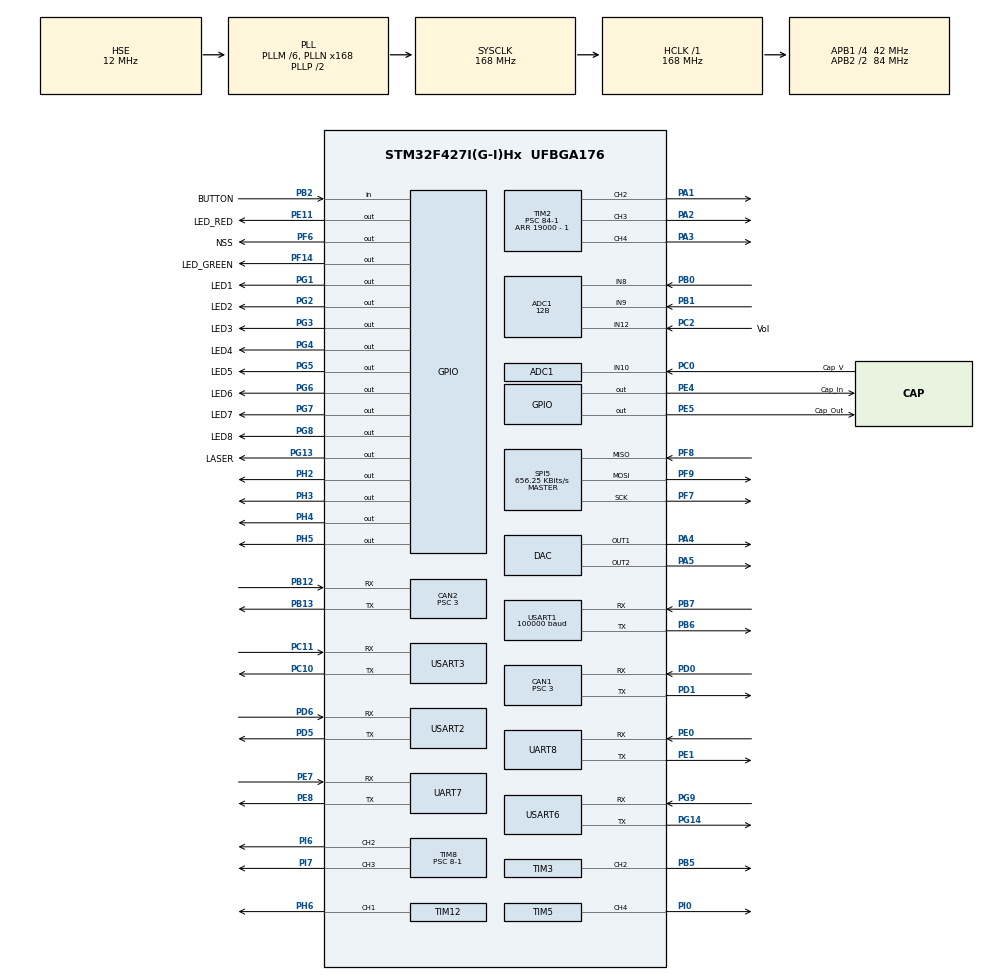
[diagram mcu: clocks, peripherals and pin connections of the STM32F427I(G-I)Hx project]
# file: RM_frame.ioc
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ADC1.Channel-0\#ChannelRegularConversion=ADC_CHANNEL_VREFINT
ADC1.Channel-1\#ChannelRegularConversion=ADC_CHANNEL_8
ADC1.Channel-2\#ChannelRegularConversion=ADC_CHANNEL_9
ADC1.Channel-3\#ChannelRegularConversion=ADC_CHANNEL_10
ADC1.ClockPrescaler=ADC_CLOCK_SYNC_PCLK_DIV4
ADC1.ContinuousConvMode=ENABLE
ADC1.DMAContinuousRequests=ENABLE
ADC1.DataAlign=ADC_DATAALIGN_RIGHT
ADC1.DiscontinuousConvMode=DISABLE
ADC1.EOCSelection=ADC_EOC_SINGLE_CONV
ADC1.EnableAnalogWatchDog=false
ADC1.ExternalTrigConv=ADC_SOFTWARE_START
ADC1.ExternalTrigConvEdge=ADC_EXTERNALTRIGCONVEDGE_NONE
ADC1.InjNumberOfConversion=0
ADC1.NbrOfConversion=4
ADC1.NbrOfConversionFlag=1
ADC1.Rank-0\#ChannelRegularConversion=1
ADC1.Rank-1\#ChannelRegularConversion=2
ADC1.Rank-2\#ChannelRegularConversion=3
ADC1.Rank-3\#ChannelRegularConversion=4
ADC1.Resolution=ADC_RESOLUTION_12B
ADC1.SamplingTime-0\#ChannelRegularConversion=ADC_SAMPLETIME_56CYCLES
ADC1.SamplingTime-1\#ChannelRegularConversion=ADC_SAMPLETIME_56CYCLES
ADC1.SamplingTime-2\#ChannelRegularConversion=ADC_SAMPLETIME_56CYCLES
ADC1.SamplingTime-3\#ChannelRegularConversion=ADC_SAMPLETIME_56CYCLES
ADC1.ScanConvMode=ENABLE
ADC1.master=1
CAN1.BS1=CAN_BS1_9TQ
CAN1.BS2=CAN_BS2_4TQ
CAN1.CalculateTimeBit=1000
CAN1.CalculateTimeQuantum=71.42857142857143
CAN1.Prescaler=3
CAN2.BS1=CAN_BS1_9TQ
CAN2.BS2=CAN_BS2_4TQ
CAN2.CalculateTimeBit=1000
CAN2.CalculateTimeQuantum=71.42857142857143
CAN2.Prescaler=3
Dma.ADC1.8.Direction=DMA_PERIPH_TO_MEMORY
Dma.ADC1.8.FIFOMode=DMA_FIFOMODE_DISABLE
Dma.ADC1.8.Instance=DMA2_Stream0
Dma.ADC1.8.MemDataAlignment=DMA_MDATAALIGN_HALFWORD
Dma.ADC1.8.MemInc=DMA_MINC_ENABLE
Dma.ADC1.8.Mode=DMA_CIRCULAR
Dma.ADC1.8.PeriphDataAlignment=DMA_PDATAALIGN_HALFWORD
Dma.ADC1.8.PeriphInc=DMA_PINC_DISABLE
Dma.ADC1.8.Priority=DMA_PRIORITY_LOW
Dma.Request0=USART6_RX
Dma.Request1=USART6_TX
Dma.Request2=USART3_RX
Dma.Request3=USART2_RX
Dma.Request4=USART1_RX
Dma.Request5=UART8_RX
Dma.Request6=UART8_TX
Dma.Request7=UART7_RX
Dma.Request8=ADC1
Dma.UART7_RX.7.Direction=DMA_PERIPH_TO_MEMORY
Dma.UART7_RX.7.FIFOMode=DMA_FIFOMODE_DISABLE
Dma.UART7_RX.7.Instance=DMA1_Stream3
Dma.UART7_RX.7.MemDataAlignment=DMA_MDATAALIGN_BYTE
Dma.UART7_RX.7.MemInc=DMA_MINC_ENABLE
Dma.UART7_RX.7.Mode=DMA_NORMAL
Dma.UART7_RX.7.PeriphDataAlignment=DMA_PDATAALIGN_BYTE
Dma.UART7_RX.7.PeriphInc=DMA_PINC_DISABLE
Dma.UART7_RX.7.Priority=DMA_PRIORITY_LOW
Dma.UART8_RX.5.Direction=DMA_PERIPH_TO_MEMORY
Dma.UART8_RX.5.FIFOMode=DMA_FIFOMODE_DISABLE
Dma.UART8_RX.5.Instance=DMA1_Stream6
Dma.UART8_RX.5.MemDataAlignment=DMA_MDATAALIGN_BYTE
Dma.UART8_RX.5.MemInc=DMA_MINC_ENABLE
Dma.UART8_RX.5.Mode=DMA_NORMAL
Dma.UART8_RX.5.PeriphDataAlignment=DMA_PDATAALIGN_BYTE
Dma.UART8_RX.5.PeriphInc=DMA_PINC_DISABLE
Dma.UART8_RX.5.Priority=DMA_PRIORITY_LOW
Dma.UART8_TX.6.Direction=DMA_MEMORY_TO_PERIPH
Dma.UART8_TX.6.FIFOMode=DMA_FIFOMODE_DISABLE
Dma.UART8_TX.6.Instance=DMA1_Stream0
Dma.UART8_TX.6.MemDataAlignment=DMA_MDATAALIGN_BYTE
Dma.UART8_TX.6.MemInc=DMA_MINC_ENABLE
Dma.UART8_TX.6.Mode=DMA_NORMAL
Dma.UART8_TX.6.PeriphDataAlignment=DMA_PDATAALIGN_BYTE
Dma.UART8_TX.6.PeriphInc=DMA_PINC_DISABLE
Dma.UART8_TX.6.Priority=DMA_PRIORITY_LOW
Dma.USART1_RX.4.Direction=DMA_PERIPH_TO_MEMORY
Dma.USART1_RX.4.FIFOMode=DMA_FIFOMODE_DISABLE
Dma.USART1_RX.4.Instance=DMA2_Stream2
Dma.USART1_RX.4.MemDataAlignment=DMA_MDATAALIGN_BYTE
Dma.USART1_RX.4.MemInc=DMA_MINC_ENABLE
Dma.USART1_RX.4.Mode=DMA_NORMAL
Dma.USART1_RX.4.PeriphDataAlignment=DMA_PDATAALIGN_BYTE
Dma.USART1_RX.4.PeriphInc=DMA_PINC_DISABLE
Dma.USART1_RX.4.Priority=DMA_PRIORITY_LOW
Dma.USART2_RX.3.Direction=DMA_PERIPH_TO_MEMORY
Dma.USART2_RX.3.FIFOMode=DMA_FIFOMODE_DISABLE
Dma.USART2_RX.3.Instance=DMA1_Stream5
Dma.USART2_RX.3.MemDataAlignment=DMA_MDATAALIGN_BYTE
Dma.USART2_RX.3.MemInc=DMA_MINC_ENABLE
Dma.USART2_RX.3.Mode=DMA_NORMAL
Dma.USART2_RX.3.PeriphDataAlignment=DMA_PDATAALIGN_BYTE
Dma.USART2_RX.3.PeriphInc=DMA_PINC_DISABLE
Dma.USART2_RX.3.Priority=DMA_PRIORITY_LOW
Dma.USART3_RX.2.Direction=DMA_PERIPH_TO_MEMORY
Dma.USART3_RX.2.FIFOMode=DMA_FIFOMODE_DISABLE
Dma.USART3_RX.2.Instance=DMA1_Stream1
Dma.USART3_RX.2.MemDataAlignment=DMA_MDATAALIGN_BYTE
Dma.USART3_RX.2.MemInc=DMA_MINC_ENABLE
Dma.USART3_RX.2.Mode=DMA_NORMAL
Dma.USART3_RX.2.PeriphDataAlignment=DMA_PDATAALIGN_BYTE
Dma.USART3_RX.2.PeriphInc=DMA_PINC_DISABLE
Dma.USART3_RX.2.Priority=DMA_PRIORITY_LOW
Dma.USART6_RX.0.Direction=DMA_PERIPH_TO_MEMORY
Dma.USART6_RX.0.FIFOMode=DMA_FIFOMODE_DISABLE
Dma.USART6_RX.0.Instance=DMA2_Stream1
Dma.USART6_RX.0.MemDataAlignment=DMA_MDATAALIGN_BYTE
Dma.USART6_RX.0.MemInc=DMA_MINC_ENABLE
Dma.USART6_RX.0.Mode=DMA_NORMAL
Dma.USART6_RX.0.PeriphDataAlignment=DMA_PDATAALIGN_BYTE
Dma.USART6_RX.0.PeriphInc=DMA_PINC_DISABLE
Dma.USART6_RX.0.Priority=DMA_PRIORITY_LOW
Dma.USART6_TX.1.Direction=DMA_MEMORY_TO_PERIPH
Dma.USART6_TX.1.FIFOMode=DMA_FIFOMODE_DISABLE
Dma.USART6_TX.1.Instance=DMA2_Stream6
Dma.USART6_TX.1.MemDataAlignment=DMA_MDATAALIGN_BYTE
Dma.USART6_TX.1.MemInc=DMA_MINC_ENABLE
Dma.USART6_TX.1.Mode=DMA_NORMAL
Dma.USART6_TX.1.PeriphDataAlignment=DMA_PDATAALIGN_BYTE
Dma.USART6_TX.1.PeriphInc=DMA_PINC_DISABLE
Dma.USART6_TX.1.Priority=DMA_PRIORITY_LOW
IWDG.Prescaler=IWDG_PRESCALER_32
IWDG.Reload=300
Mcu.Family=STM32F4
Mcu.Name=STM32F427I(G-I)Hx
Mcu.Package=UFBGA176
NVIC.CAN1_RX0_IRQn=true\:0\:0\:true\:false\:true\:true
NVIC.CAN1_TX_IRQn=true\:0\:0\:true\:false\:true\:true
NVIC.CAN2_RX0_IRQn=true\:1\:0\:true\:false\:true\:true
NVIC.CAN2_TX_IRQn=true\:2\:0\:true\:false\:true\:true
NVIC.DMA1_Stream0_IRQn=true\:0\:0\:false\:false\:true\:true
NVIC.DMA1_Stream1_IRQn=true\:0\:0\:false\:false\:true\:true
NVIC.DMA1_Stream3_IRQn=true\:0\:0\:false\:false\:true\:true
NVIC.DMA1_Stream5_IRQn=true\:0\:0\:false\:false\:true\:true
NVIC.DMA1_Stream6_IRQn=true\:0\:0\:false\:false\:true\:true
NVIC.DMA2_Stream0_IRQn=true\:0\:0\:false\:false\:true\:false
NVIC.DMA2_Stream1_IRQn=true\:0\:0\:false\:false\:true\:true
NVIC.DMA2_Stream2_IRQn=true\:0\:0\:false\:false\:true\:true
NVIC.DMA2_Stream6_IRQn=true\:0\:0\:false\:false\:true\:true
NVIC.PriorityGroup=NVIC_PRIORITYGROUP_4
NVIC.TIM1_UP_TIM10_IRQn=true\:4\:0\:true\:false\:true\:true
NVIC.TIM6_DAC_IRQn=true\:3\:0\:true\:false\:true\:true
NVIC.TIM7_IRQn=true\:0\:0\:true\:false\:true\:true
NVIC.UART7_IRQn=true\:0\:0\:false\:false\:true\:true
NVIC.UART8_IRQn=true\:4\:0\:true\:false\:true\:true
NVIC.USART1_IRQn=true\:0\:0\:true\:false\:true\:true
NVIC.USART2_IRQn=true\:0\:0\:false\:false\:true\:true
NVIC.USART3_IRQn=true\:0\:0\:false\:false\:true\:true
NVIC.USART6_IRQn=true\:1\:0\:true\:false\:true\:true
PA1.Signal=S_TIM2_CH2
PA2.Signal=S_TIM2_CH3
PA3.Signal=S_TIM2_CH4
PA4.Signal=COMP_DAC1_group
PA5.Signal=COMP_DAC2_group
PB0.Signal=ADCx_IN8
PB1.Signal=ADCx_IN9
PB12.Mode=Slave
PB12.Signal=CAN2_RX
PB13.Mode=Slave
PB13.Signal=CAN2_TX
PB2/BOOT1.GPIO_Label=BUTTON
PB2/BOOT1.Signal=GPIO_Input
PB5.Signal=S_TIM3_CH2
PB6.Mode=Asynchronous
PB6.Signal=USART1_TX
PB7.Mode=Asynchronous
PB7.Signal=USART1_RX
PC0.GPIO_Label=Cap_V
PC0.Signal=ADCx_IN10
PC10.Mode=Asynchronous
PC10.Signal=USART3_TX
PC11.Mode=Asynchronous
PC11.Signal=USART3_RX
PC2.GPIO_Label=Vol
PC2.Signal=ADCx_IN12
PD0.Mode=Master
PD0.Signal=CAN1_RX
PD1.Mode=Master
PD1.Signal=CAN1_TX
PD5.Mode=Asynchronous
PD5.Signal=USART2_TX
PD6.Mode=Asynchronous
PD6.Signal=USART2_RX
PE0.Mode=Asynchronous
PE0.Signal=UART8_RX
PE1.Mode=Asynchronous
PE1.Signal=UART8_TX
PE11.GPIO_Label=LED_RED
PE11.Signal=GPIO_Output
PE4.GPIO_Label=Cap_In
PE4.Signal=GPIO_Output
PE5.GPIO_Label=Cap_Out
PE5.Signal=GPIO_Output
PE7.Mode=Asynchronous
PE7.Signal=UART7_RX
PE8.Mode=Asynchronous
PE8.Signal=UART7_TX
PF14.GPIO_Label=LED_GREEN
PF14.Signal=GPIO_Output
PF6.GPIO_Label=NSS
PF6.Signal=GPIO_Output
PF7.Mode=Full_Duplex_Master
PF7.Signal=SPI5_SCK
PF8.Mode=Full_Duplex_Master
PF8.Signal=SPI5_MISO
PF9.Mode=Full_Duplex_Master
PF9.Signal=SPI5_MOSI
PG1.GPIO_Label=LED1
PG1.Signal=GPIO_Output
PG13.GPIO_Label=LASER
PG13.Signal=GPIO_Output
PG14.Mode=Asynchronous
PG14.Signal=USART6_TX
PG2.GPIO_Label=LED2
PG2.Signal=GPIO_Output
PG3.GPIO_Label=LED3
PG3.Signal=GPIO_Output
PG4.GPIO_Label=LED4
PG4.Signal=GPIO_Output
PG5.GPIO_Label=LED5
PG5.Signal=GPIO_Output
PG6.GPIO_Label=LED6
PG6.Signal=GPIO_Output
PG7.GPIO_Label=LED7
PG7.Signal=GPIO_Output
PG8.GPIO_Label=LED8
PG8.Signal=GPIO_Output
PG9.Mode=Asynchronous
PG9.Signal=USART6_RX
PH0/OSC_IN.Mode=HSE-External-Oscillator
PH0/OSC_IN.Signal=RCC_OSC_IN
PH1/OSC_OUT.Mode=HSE-External-Oscillator
PH1/OSC_OUT.Signal=RCC_OSC_OUT
PH2.Signal=GPIO_Output
PH3.Signal=GPIO_Output
PH4.Signal=GPIO_Output
PH5.Signal=GPIO_Output
PH6.Signal=S_TIM12_CH1
PI0.Signal=S_TIM5_CH4
PI6.Signal=S_TIM8_CH2
PI7.Signal=S_TIM8_CH3
ProjectManager.HeapSize=0x200
ProjectManager.StackSize=0x400
ProjectManager.TargetToolchain=MDK-ARM V5
RCC.48MHZClocksFreq_Value=84000000
RCC.AHBFreq_Value=168000000
RCC.APB1CLKDivider=RCC_HCLK_DIV4
RCC.APB1Freq_Value=42000000
RCC.APB1TimFreq_Value=84000000
RCC.APB2CLKDivider=RCC_HCLK_DIV2
RCC.APB2Freq_Value=84000000
RCC.APB2TimFreq_Value=168000000
RCC.CortexFreq_Value=168000000
RCC.HCLKFreq_Value=168000000
RCC.HSE_VALUE=12000000
RCC.HSI_VALUE=16000000
RCC.LSE_VALUE=32768
RCC.PLLM=6
RCC.PLLN=168
RCC.PLLSourceVirtual=RCC_PLLSOURCE_HSE
RCC.SYSCLKFreq_VALUE=168000000
RCC.SYSCLKSource=RCC_SYSCLKSOURCE_PLLCLK
RCC.VCOOutputFreq_Value=336000000
SH.ADCx_IN10.0=ADC1_IN10,IN10
SH.ADCx_IN12.0=ADC1_IN12,IN12
SH.ADCx_IN8.0=ADC1_IN8,IN8
SH.ADCx_IN9.0=ADC1_IN9,IN9
SH.COMP_DAC1_group.0=DAC_OUT1,DAC_OUT1
SH.COMP_DAC2_group.0=DAC_OUT2,DAC_OUT2
SH.S_TIM12_CH1.0=TIM12_CH1,PWM Generation1 CH1
SH.S_TIM2_CH2.0=TIM2_CH2,PWM Generation2 CH2
SH.S_TIM2_CH3.0=TIM2_CH3,PWM Generation3 CH3
SH.S_TIM2_CH4.0=TIM2_CH4,PWM Generation4 CH4
SH.S_TIM3_CH2.0=TIM3_CH2,PWM Generation2 CH2
SH.S_TIM5_CH4.0=TIM5_CH4,PWM Generation4 CH4
SH.S_TIM8_CH2.0=TIM8_CH2,PWM Generation2 CH2
SH.S_TIM8_CH3.0=TIM8_CH3,PWM Generation3 CH3
SPI5.BaudRatePrescaler=SPI_BAUDRATEPRESCALER_128
SPI5.CalculateBaudRate=656.25 KBits/s
SPI5.Direction=SPI_DIRECTION_2LINES
SPI5.Mode=SPI_MODE_MASTER
SPI5.VirtualType=VM_MASTER
TIM10.Period=10000
TIM10.Prescaler=168-1
TIM12.Channel-PWM\ Generation1\ CH1=TIM_CHANNEL_1
TIM12.Period=2500-1
TIM12.Prescaler=84-1
TIM12.Pulse-PWM\ Generation1\ CH1=1000
TIM2.Channel-PWM\ Generation2\ CH2=TIM_CHANNEL_2
TIM2.Channel-PWM\ Generation3\ CH3=TIM_CHANNEL_3
TIM2.Channel-PWM\ Generation4\ CH4=TIM_CHANNEL_4
TIM2.Period=19000 - 1
TIM2.Prescaler=84-1
TIM3.Channel-PWM\ Generation2\ CH2=TIM_CHANNEL_2
TIM3.CounterMode=TIM_COUNTERMODE_UP
TIM3.Period=300
TIM3.Prescaler=84-1
TIM5.Channel-PWM\ Generation4\ CH4=TIM_CHANNEL_4
TIM5.Period=1000000
TIM5.Prescaler=84-1
TIM5.Pulse-PWM\ Generation4\ CH4=1000
TIM6.Period=2000
TIM6.Prescaler=84-1
TIM7.Period=1000
TIM7.Prescaler=84-1
TIM8.Channel-PWM\ Generation2\ CH2=TIM_CHANNEL_2
TIM8.Channel-PWM\ Generation3\ CH3=TIM_CHANNEL_3
TIM8.Period=42000-1
TIM8.Prescaler=8-1
UART7.VirtualMode=Asynchronous
UART8.VirtualMode=Asynchronous
USART1.BaudRate=100000
USART1.Mode=MODE_RX
USART1.Parity=PARITY_EVEN
USART1.VirtualMode=VM_ASYNC
USART1.WordLength=WORDLENGTH_9B
USART2.VirtualMode=VM_ASYNC
USART3.VirtualMode=VM_ASYNC
USART6.VirtualMode=VM_ASYNC
VP_ADC1_Vref_Input.Mode=IN-Vrefint
VP_IWDG_VS_IWDG.Mode=IWDG_Activate
VP_TIM10_VS_ClockSourceINT.Mode=Enable_Timer
VP_TIM12_VS_ClockSourceINT.Mode=Internal
VP_TIM2_VS_ClockSourceINT.Mode=Internal
VP_TIM3_VS_ClockSourceINT.Mode=Internal
VP_TIM6_VS_ClockSourceINT.Mode=Enable_Timer
VP_TIM7_VS_ClockSourceINT.Mode=Enable_Timer
board=RM_frame

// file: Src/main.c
/**
  ******************************************************************************
  * File Name          : main.c
  * Description        : Main program body
  ******************************************************************************
  ** This notice applies to any and all portions of this file
  * that are not between comment pairs USER CODE BEGIN and
  * USER CODE END. Other portions of this file, whether
  * inserted by the user or by software development tools
  * are owned by their respective copyright owners.
  *
  * COPYRIGHT(c) 2019 STMicroelectronics
  *
  * Redistribution and use in source and binary forms, with or without modification,
  * are permitted provided that the following conditions are met:
  *   1. Redistributions of source code must retain the above copyright notice,
  *      this list of conditions and the following disclaimer.
  *   2. Redistributions in binary form must reproduce the above copyright notice,
  *      this list of conditions and the following disclaimer in the documentation
  *      and/or other materials provided with the distribution.
  *   3. Neither the name of STMicroelectronics nor the names of its contributors
  *      may be used to endorse or promote products derived from this software
  *      without specific prior written permission.
  *
  * THIS SOFTWARE IS PROVIDED BY THE COPYRIGHT HOLDERS AND CONTRIBUTORS "AS IS"
  * AND ANY EXPRESS OR IMPLIED WARRANTIES, INCLUDING, BUT NOT LIMITED TO, THE
  * IMPLIED WARRANTIES OF MERCHANTABILITY AND FITNESS FOR A PARTICULAR PURPOSE ARE
  * DISCLAIMED. IN NO EVENT SHALL THE COPYRIGHT HOLDER OR CONTRIBUTORS BE LIABLE
  * FOR ANY DIRECT, INDIRECT, INCIDENTAL, SPECIAL, EXEMPLARY, OR CONSEQUENTIAL
  * DAMAGES (INCLUDING, BUT NOT LIMITED TO, PROCUREMENT OF SUBSTITUTE GOODS OR
  * SERVICES; LOSS OF USE, DATA, OR PROFITS; OR BUSINESS INTERRUPTION) HOWEVER
  * CAUSED AND ON ANY THEORY OF LIABILITY, WHETHER IN CONTRACT, STRICT LIABILITY,
  * OR TORT (INCLUDING NEGLIGENCE OR OTHERWISE) ARISING IN ANY WAY OUT OF THE USE
  * OF THIS SOFTWARE, EVEN IF ADVISED OF THE POSSIBILITY OF SUCH DAMAGE.
  *
  ******************************************************************************
  */

#include "main.h"
#include "stm32f4xx_hal.h"
#include "adc.h"
#include "can.h"
#include "dac.h"
#include "dma.h"
#include "iwdg.h"
#include "spi.h"
#include "tim.h"
#include "usart.h"
#include "gpio.h"

/* USER CODE BEGIN Includes */
#include "includes.h"
#include "ServoTask.h"
/* USER CODE END Includes */

/* USER CODE BEGIN PV */
uint32_t ADC_Value[160];
/* Private variables ---------------------------------------------------------*/

/* USER CODE END PV */

void SystemClock_Config(void);

/* USER CODE BEGIN PFP */
/* Private function prototypes -----------------------------------------------*/

/* USER CODE END PFP */

int main(void)
{

  /* MCU Configuration----------------------------------------------------------*/

  /* Reset of all peripherals, Initializes the Flash interface and the Systick. */
  HAL_Init();

  /* Configure the system clock */
  SystemClock_Config();

  /* USER CODE BEGIN SysInit */
	HAL_NVIC_DisableIRQ(USART2_IRQn);
	HAL_NVIC_DisableIRQ(USART3_IRQn);
	HAL_NVIC_DisableIRQ(USART6_IRQn);
	HAL_NVIC_DisableIRQ(DMA1_Stream1_IRQn);
	HAL_NVIC_DisableIRQ(DMA1_Stream5_IRQn);
	HAL_NVIC_DisableIRQ(DMA2_Stream1_IRQn);

	HAL_NVIC_DisableIRQ(CAN1_RX0_IRQn);
	HAL_NVIC_DisableIRQ(CAN2_RX0_IRQn);
	HAL_NVIC_DisableIRQ(USART1_IRQn);
	HAL_NVIC_DisableIRQ(DMA2_Stream2_IRQn);
	HAL_NVIC_DisableIRQ(TIM7_IRQn);
	HAL_NVIC_DisableIRQ(TIM6_DAC_IRQn);
	#ifdef DEBUG_MODE
		HAL_NVIC_DisableIRQ(TIM1_UP_TIM10_IRQn);
	#endif
  /* USER CODE END SysInit */

  /* Initialize all configured peripherals */
  MX_GPIO_Init();
  MX_DMA_Init();
  MX_CAN1_Init();
  MX_CAN2_Init();
  MX_SPI5_Init();
  MX_USART1_UART_Init();
  MX_TIM6_Init();
  MX_TIM12_Init();
  MX_USART6_UART_Init();
  MX_TIM7_Init();
  MX_TIM10_Init();
  MX_TIM2_Init();
//  MX_IWDG_Init();
  MX_TIM5_Init();
  MX_USART3_UART_Init();
  MX_UART7_Init();
  MX_ADC1_Init();
  MX_UART8_Init();
  MX_USART2_UART_Init();
  MX_TIM8_Init();
  MX_TIM3_Init();
  MX_DAC_Init();

  /* USER CODE BEGIN 2 */
	//各模块初始化

	/* 开启四路24V电源 */

	HAL_GPIO_WritePin(GPIOH,GPIO_PIN_2,GPIO_PIN_SET);
	HAL_GPIO_WritePin(GPIOH,GPIO_PIN_3,GPIO_PIN_SET);
	HAL_GPIO_WritePin(GPIOH,GPIO_PIN_4,GPIO_PIN_SET);
	HAL_GPIO_WritePin(GPIOH,GPIO_PIN_5,GPIO_PIN_SET);
	/*******************/

	#ifdef FRIC_PWM_MODE//临时使用，后续不需要
	HAL_TIM_PWM_Start(&htim2,TIM_CHANNEL_2);

	__HAL_TIM_SetCompare(&htim2,TIM_CHANNEL_2,800);
	__HAL_TIM_SetCompare(&htim2,TIM_CHANNEL_3,800);
	#endif /*FRIC_PWM_MODE*/
	InitRemoteControl();
	Motor_ID_Setting();
	for(int i=0;i<8;i++) {InitMotor(can1[i]);InitMotor(can2[i]);}
	InitPWM();
	InitCanReception();
	//InitGyroUart();
	Init_Motor_Task();
	InitJudgeUart();
	/*弹舱舵机初始化*/
	InitServoUart();
	/*弹舱舵机初始化结束*/
	/*****陀螺仪初始化*****/
  HAL_TIM_PWM_Start(&htim3, TIM_CHANNEL_2);//用于恒温电阻
	mpu_device_init();
	init_quaternion();
	imu_temp_ctrl_init();
	/*****陀螺仪初始化结束*****/
	MX_IWDG_Init();							//Cube配置完记得注释掉上面自动生成的看门狗初始化函数

	#ifdef	USE_AUTOAIM
		InitAutoAim();
	#endif /*USE_AUTOAIM*/

	#ifdef DEBUG_MODE
	ctrlUartInit();
	//时间中断
	HAL_TIM_Base_Start_IT(&htim10);
	#endif
	HAL_TIM_Base_Start_IT(&htim6);
	HAL_TIM_Base_Start_IT(&htim7);
	HAL_TIM_PWM_Start(&htim2, TIM_CHANNEL_3);
	HAL_TIM_PWM_Start(&htim2, TIM_CHANNEL_4);

	//ADC
	//HAL_ADC_Start_DMA(&hadc1,(uint32_t*)&ADC_Value,160);

	//时间中断
	HAL_NVIC_EnableIRQ(CAN1_RX0_IRQn);
	HAL_NVIC_EnableIRQ(CAN2_RX0_IRQn);
	HAL_NVIC_EnableIRQ(USART1_IRQn);
	HAL_NVIC_EnableIRQ(DMA2_Stream2_IRQn);
	HAL_NVIC_EnableIRQ(TIM6_DAC_IRQn);
	HAL_NVIC_EnableIRQ(TIM7_IRQn);
	#ifdef DEBUG_MODE
		HAL_NVIC_EnableIRQ(TIM1_UP_TIM10_IRQn);
	#endif
	__HAL_UART_ENABLE_IT(&UPPER_UART, UART_IT_IDLE);

	Cap_Init();

  /* USER CODE END 2 */

  /* Infinite loop */
  while (1)
  {

  }

}

/** System Clock Configuration
*/
void SystemClock_Config(void)
{

  RCC_OscInitTypeDef RCC_OscInitStruct;
  RCC_ClkInitTypeDef RCC_ClkInitStruct;

    /**Configure the main internal regulator output voltage
    */
  __HAL_RCC_PWR_CLK_ENABLE();

  __HAL_PWR_VOLTAGESCALING_CONFIG(PWR_REGULATOR_VOLTAGE_SCALE1);

    /**Initializes the CPU, AHB and APB busses clocks
    */
  RCC_OscInitStruct.OscillatorType = RCC_OSCILLATORTYPE_LSI|RCC_OSCILLATORTYPE_HSE;
  RCC_OscInitStruct.HSEState = RCC_HSE_ON;
  RCC_OscInitStruct.LSIState = RCC_LSI_ON;
  RCC_OscInitStruct.PLL.PLLState = RCC_PLL_ON;
  RCC_OscInitStruct.PLL.PLLSource = RCC_PLLSOURCE_HSE;
  RCC_OscInitStruct.PLL.PLLM = 6;
  RCC_OscInitStruct.PLL.PLLN = 168;
  RCC_OscInitStruct.PLL.PLLP = RCC_PLLP_DIV2;
  RCC_OscInitStruct.PLL.PLLQ = 4;
  if (HAL_RCC_OscConfig(&RCC_OscInitStruct) != HAL_OK)
  {
    _Error_Handler(__FILE__, __LINE__);
  }

    /**Initializes the CPU, AHB and APB busses clocks
    */
  RCC_ClkInitStruct.ClockType = RCC_CLOCKTYPE_HCLK|RCC_CLOCKTYPE_SYSCLK
                              |RCC_CLOCKTYPE_PCLK1|RCC_CLOCKTYPE_PCLK2;
  RCC_ClkInitStruct.SYSCLKSource = RCC_SYSCLKSOURCE_PLLCLK;
  RCC_ClkInitStruct.AHBCLKDivider = RCC_SYSCLK_DIV1;
  RCC_ClkInitStruct.APB1CLKDivider = RCC_HCLK_DIV4;
  RCC_ClkInitStruct.APB2CLKDivider = RCC_HCLK_DIV2;

  if (HAL_RCC_ClockConfig(&RCC_ClkInitStruct, FLASH_LATENCY_5) != HAL_OK)
  {
    _Error_Handler(__FILE__, __LINE__);
  }

    /**Configure the Systick interrupt time
    */
  HAL_SYSTICK_Config(HAL_RCC_GetHCLKFreq()/1000);

    /**Configure the Systick
    */
  HAL_SYSTICK_CLKSourceConfig(SYSTICK_CLKSOURCE_HCLK);

  /* SysTick_IRQn interrupt configuration */
  HAL_NVIC_SetPriority(SysTick_IRQn, 0, 0);
}

void _Error_Handler(char * file, int line)
{
  while(1)
  {
  }
}

/************************ (C) COPYRIGHT STMicroelectronics *****END OF FILE****/
